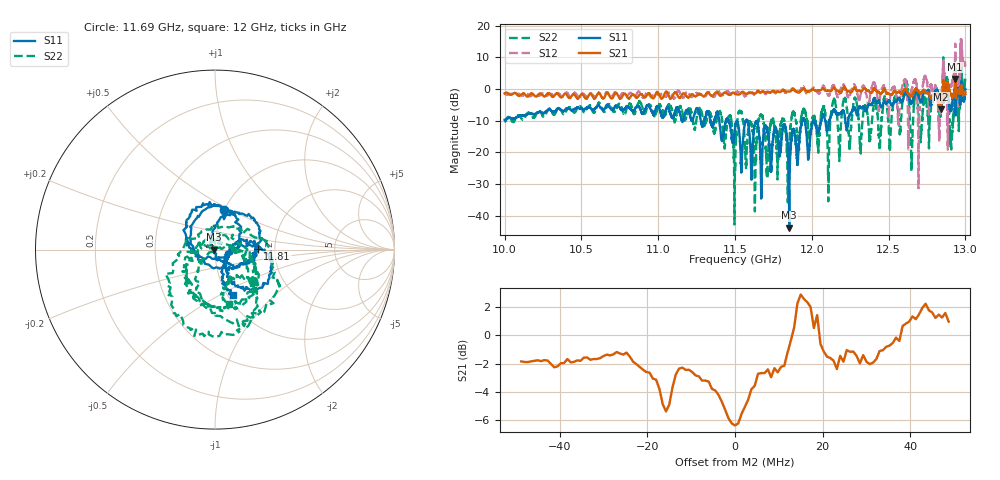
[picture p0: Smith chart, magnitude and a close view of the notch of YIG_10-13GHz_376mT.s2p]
#  HZ  S  RI  R  50.0
! Rohde & Schwarz ZVL13 2Ports - Version 3.31 - 1303.6509k13 SN: 101088
! Date: 2023-03-06 16:01:21
! Data & Calibration Information:
! Trc4:S11(TOSM) Trc2:S21(TOSM) Trc3:S12(TOSM) Trc5:S22(TOSM)
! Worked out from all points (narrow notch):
!   4000 points, 10 GHz to 13 GHz, reference 50 ohm
!   highest |S21| = 3.13 dB at 12.93 GHz (marker M1); lowest = -6.4 dB at 12.84 GHz (marker M2)
!   notch at M2: 5.0 dB deep, 8.18 MHz wide at half that depth
!   lowest |S11| = -43.8 dB at 11.85 GHz (marker M3), VSWR 1.01, Z = 49.4 + j0.00443 ohm
!   |S11| at or under -10 dB: 11.46 GHz to 11.57 GHz (109.4 MHz wide, 0.95 % of centre); 11.58 GHz to 11.94 GHz (355.9 MHz wide, 3.03 % of centre); 11.95443 GHz to 12.00815 GHz (53.72 MHz wide, 0.448 % of centre)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
!   |S22| runs from -42.8 to 10.5 dB; largest |S21 - S12| = 5.4
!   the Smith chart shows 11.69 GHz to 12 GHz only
!   S11 on the Smith chart (normalised r, x): 11.69 GHz: 1.00, +0.46; 11.81 GHz: 1.63, +0.01; 12 GHz: 1.05, -0.58
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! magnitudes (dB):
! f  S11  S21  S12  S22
! 10 GHz  -9.7  -1.4  -1.5  -10.5
! 10.5 GHz  -6.3  -1.6  -1.8  -5.8
! 11 GHz  -5.6  -1.2  -1.9  -5.6
! 11.47 GHz  -11.0  -1.8  -1.4  -8.1
! 11.5 GHz  -11.5  -1.5  -1.4  -24.9
! 11.53 GHz  -15.1  -1.7  -1.3  -6.7
! 11.63 GHz  -11.3  -1.5  -1.6  -38.7
! 11.69 GHz  -13.0  -1.0  -1.3  -11.3
! 11.81 GHz  -12.5  -0.3  -0.2  -9.3
! 11.85 GHz  -43.8  -0.8  -0.9  -17.7
! 11.88 GHz  -12.7  0.0  0.1  -7.2
! 12 GHz  -11.8  -0.3  0.0  -10.6
! 12 GHz  -11.2  -0.2  0.1  -10.2
! 12.5 GHz  -3.6  -1.5  -8.5  -11.7
! 12.61 GHz  -1.0  0.0  2.6  2.5
! 12.65 GHz  -4.7  -2.2  -0.6  -24.6
! 12.68 GHz  -1.0  -0.1  2.4  -1.1
! 12.84 GHz  -5.4  -6.4  -5.5  -6.6
! 12.87 GHz  -1.0  -2.0  0.2  2.2
! 12.91 GHz  -5.4  -2.0  1.5  -17.0
! 12.93 GHz  -0.2  3.1  14.4  10.5
! 13 GHz  0.0  -1.7  8.5  4.6
